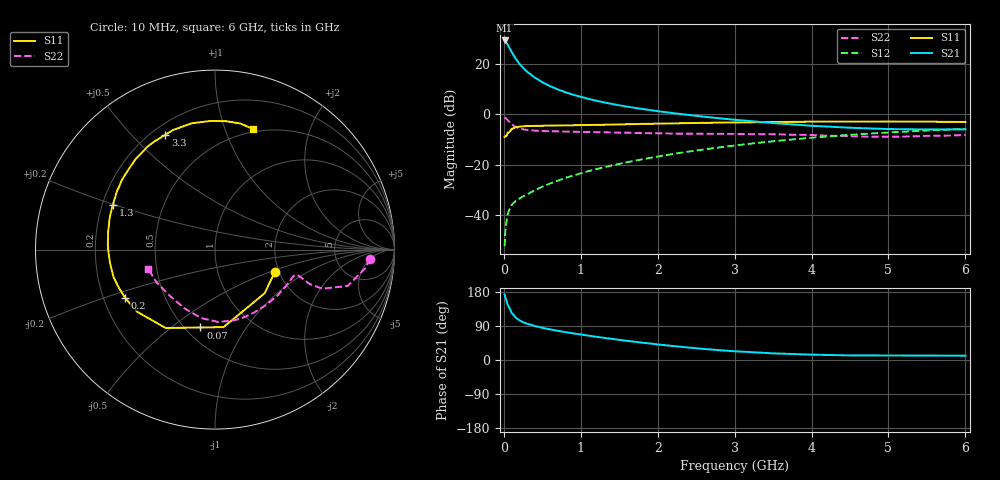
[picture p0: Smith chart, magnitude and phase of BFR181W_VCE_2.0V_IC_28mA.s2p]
! Infineon Technologies  Discrete & RF Semiconductors
! BFR181W
! VCE =  2.0 V,  IC =  28 mA
! Common Emitter S-Parameters:  Jan 2017
# GHz  S  MA  R  50
!  f  S11  S21  S12  S22
! GHz  MAG  ANG  MAG  ANG  MAG  ANG  MAG  ANG
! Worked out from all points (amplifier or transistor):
!   77 points, 10 MHz to 6 GHz, reference 50 ohm
!   highest |S21| = 29.4 dB at 10 MHz (marker M1)
!   |S21| within 3 dB of that: start of sweep to 73.67 MHz
!   unconditionally stable (mu >= 1): start of sweep to 16.75 MHz; 205.8 MHz to end of sweep
!   at 130 MHz: K = 0.77, MSG = 29.3 dB, |S12| = -35.1 dB
!   at 2.2 GHz: K = 1.20, MAG = 5.4 dB, |S12| = -15.7 dB
!   at 6 GHz: K = 1.15, MAG = -2.5 dB, |S12| = -5.8 dB
!   S11 on the Smith chart (normalised r, x): 10 MHz: 1.90, -0.54; 70 MHz: 0.59, -0.64; 200 MHz: 0.29, -0.23; 1.3 GHz: 0.24, +0.20; 3.3 GHz: 0.25, +0.63; 6 GHz: 0.47, +1.25
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0.01  0.356 -20.3  29.39 172.9  0.0024 72.8  0.8637 -3.3
0.02  0.3684 -41.4  28.58 164.6  0.0048 79.2  0.8467 -6.8
0.05  0.4345 -83.7  24.43 145.2  0.0103 62.4  0.7669 -15.3
0.07  0.4415 -100.6  21.34 138.5  0.0124 58.7  0.7144 -17.0
0.1  0.516 -122.1  17.48 124.3  0.0157 55.1  0.637 -20.0
0.15  0.5545 -141.2  13.04 112.8  0.0187 52.8  0.5633 -20.0
0.2  0.5688 -151.9  10.22 105.1  0.021 55.1  0.5253 -18.9
0.25  0.578 -159.5  8.375 99.8  0.0235 55.0  0.5047 -18.0
0.3  0.5855 -164.9  7.071 95.8  0.0255 57.7  0.49 -17.4
0.4  0.5898 -172.5  5.401 89.7  0.0308 62.8  0.4756 -17.2
0.5  0.5932 -178.1  4.344 84.9  0.0363 66.4  0.4672 -17.7
0.6  0.5975 177.6  3.64 80.8  0.0422 68.8  0.4625 -18.5
0.7  0.5995 173.8  3.135 77.1  0.0479 71.5  0.4581 -19.6
0.9  0.606 167.2  2.457 70.3  0.0608 74.0  0.4517 -22.8
1.1  0.6147 161.5  2.032 64.3  0.0743 76.5  0.4461 -26.3
1.3  0.6212 156.2  1.731 58.5  0.0883 77.1  0.4397 -30.2
2.1  0.656 137.6  1.106 39.0  0.1541 76.2  0.417 -49.5
3.1  0.6919 117.3  0.757 22.0  0.2502 68.4  0.4058 -76.9
3.3  0.6973 113.3  0.713 19.8  0.2708 66.4  0.4031 -82.1
4.1  0.7148 98.7  0.582 13.7  0.3521 57.0  0.3828 -104.4
5.1  0.7171 83.9  0.508 11.9  0.4442 44.1  0.3605 -138.3
6  0.7046 72.7  0.503 11.3  0.5137 32.8  0.3873 -164.1
